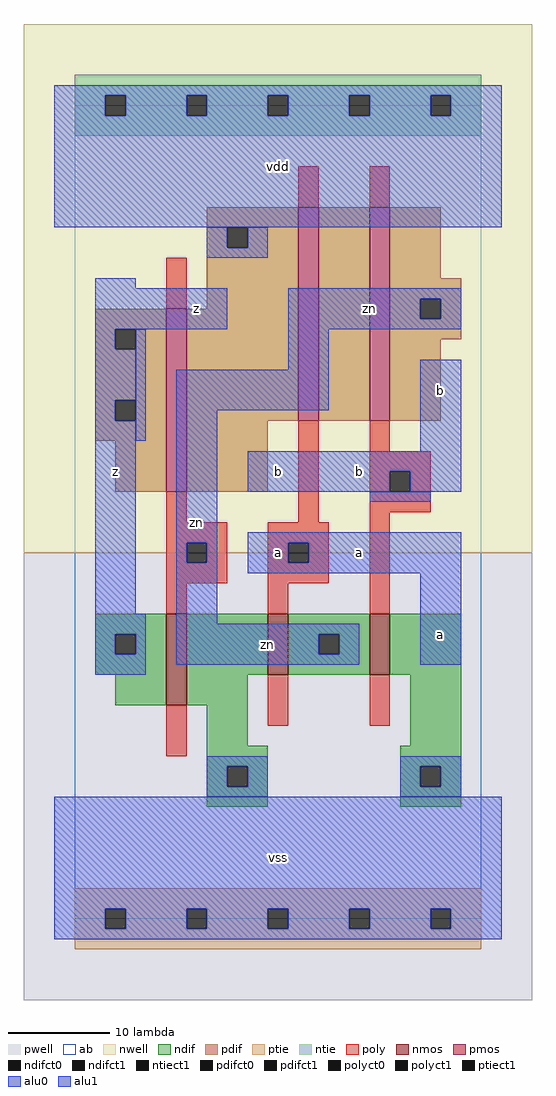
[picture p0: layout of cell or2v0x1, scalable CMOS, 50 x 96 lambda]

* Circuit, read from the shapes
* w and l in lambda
.subckt or2v0x1 a b vdd vss z zn
M1 vss zn z vss nfet w=9 l=2
M2 zn a vss vss nfet w=6 l=2
M3 vss b zn vss nfet w=6 l=2
M4 vdd zn z vdd pfet w=18 l=2
M5 n1 a vdd vdd pfet w=21 l=2
M6 zn b n1 vdd pfet w=21 l=2
.ends

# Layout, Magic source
magic
tech scmos
<< ab >>
rect 0 0 40 80
<< nwell >>
rect -5 36 45 88
<< pwell >>
rect -5 -8 45 36
<< poly >>
rect 22 70 24 74
rect 29 70 31 74
rect 9 60 11 65
rect 9 39 11 42
rect 22 39 24 49
rect 29 46 31 49
rect 29 44 35 46
rect 29 42 31 44
rect 33 42 35 44
rect 29 40 35 42
rect 9 37 15 39
rect 9 35 11 37
rect 13 35 15 37
rect 9 33 15 35
rect 19 37 25 39
rect 19 35 21 37
rect 23 35 25 37
rect 19 33 25 35
rect 9 30 11 33
rect 19 30 21 33
rect 29 30 31 40
rect 9 16 11 21
rect 19 19 21 24
rect 29 19 31 24
<< ndif >>
rect 2 28 9 30
rect 2 26 4 28
rect 6 26 9 28
rect 2 24 9 26
rect 4 21 9 24
rect 11 24 19 30
rect 21 28 29 30
rect 21 26 24 28
rect 26 26 29 28
rect 21 24 29 26
rect 31 24 38 30
rect 11 21 17 24
rect 13 17 17 21
rect 33 17 38 24
rect 13 15 19 17
rect 13 13 15 15
rect 17 13 19 15
rect 13 11 19 13
rect 32 15 38 17
rect 32 13 34 15
rect 36 13 38 15
rect 32 11 38 13
<< pdif >>
rect 13 68 22 70
rect 13 66 15 68
rect 17 66 22 68
rect 13 60 22 66
rect 2 58 9 60
rect 2 56 4 58
rect 6 56 9 58
rect 2 51 9 56
rect 2 49 4 51
rect 6 49 9 51
rect 2 47 9 49
rect 4 42 9 47
rect 11 49 22 60
rect 24 49 29 70
rect 31 63 36 70
rect 31 61 38 63
rect 31 59 34 61
rect 36 59 38 61
rect 31 57 38 59
rect 31 49 36 57
rect 11 42 19 49
<< alu1 >>
rect -2 81 42 82
rect -2 79 3 81
rect 5 79 11 81
rect 13 79 19 81
rect 21 79 27 81
rect 29 79 35 81
rect 37 79 42 81
rect -2 68 42 79
rect 2 62 6 63
rect 2 58 15 62
rect 2 56 4 58
rect 2 51 6 56
rect 2 49 4 51
rect 2 30 6 49
rect 34 46 38 55
rect 17 44 38 46
rect 17 42 31 44
rect 33 42 38 44
rect 2 28 7 30
rect 2 26 4 28
rect 6 26 7 28
rect 2 24 7 26
rect 17 37 38 38
rect 17 35 21 37
rect 23 35 38 37
rect 17 34 38 35
rect 34 25 38 34
rect -2 1 42 12
rect -2 -1 3 1
rect 5 -1 11 1
rect 13 -1 19 1
rect 21 -1 27 1
rect 29 -1 35 1
rect 37 -1 42 1
rect -2 -2 42 -1
<< ptie >>
rect 0 1 40 3
rect 0 -1 3 1
rect 5 -1 11 1
rect 13 -1 19 1
rect 21 -1 27 1
rect 29 -1 35 1
rect 37 -1 40 1
rect 0 -3 40 -1
<< ntie >>
rect 0 81 40 83
rect 0 79 3 81
rect 5 79 11 81
rect 13 79 19 81
rect 21 79 27 81
rect 29 79 35 81
rect 37 79 40 81
rect 0 77 40 79
<< nmos >>
rect 9 21 11 30
rect 19 24 21 30
rect 29 24 31 30
<< pmos >>
rect 9 42 11 60
rect 22 49 24 70
rect 29 49 31 70
<< polyct0 >>
rect 11 35 13 37
<< polyct1 >>
rect 31 42 33 44
rect 21 35 23 37
<< ndifct0 >>
rect 24 26 26 28
rect 15 13 17 15
rect 34 13 36 15
<< ndifct1 >>
rect 4 26 6 28
<< ntiect1 >>
rect 3 79 5 81
rect 11 79 13 81
rect 19 79 21 81
rect 27 79 29 81
rect 35 79 37 81
<< ptiect1 >>
rect 3 -1 5 1
rect 11 -1 13 1
rect 19 -1 21 1
rect 27 -1 29 1
rect 35 -1 37 1
<< pdifct0 >>
rect 15 66 17 68
rect 34 59 36 61
<< pdifct1 >>
rect 4 56 6 58
rect 4 49 6 51
<< alu0 >>
rect 13 66 15 68
rect 17 66 19 68
rect 13 65 19 66
rect 21 61 38 62
rect 21 59 34 61
rect 36 59 38 61
rect 21 58 38 59
rect 6 47 7 58
rect 21 54 25 58
rect 10 50 25 54
rect 10 37 14 50
rect 29 41 35 42
rect 10 35 11 37
rect 13 35 14 37
rect 10 29 14 35
rect 10 28 28 29
rect 10 26 24 28
rect 26 26 28 28
rect 10 25 28 26
rect 13 15 19 16
rect 13 13 15 15
rect 17 13 19 15
rect 13 12 19 13
rect 32 15 38 16
rect 32 13 34 15
rect 36 13 38 15
rect 32 12 38 13
<< labels >>
rlabel alu0 12 39 12 39 6 zn
rlabel alu0 19 27 19 27 6 zn
rlabel alu0 29 60 29 60 6 zn
rlabel alu1 4 44 4 44 6 z
rlabel alu1 12 60 12 60 6 z
rlabel alu1 20 6 20 6 6 vss
rlabel alu1 20 36 20 36 6 a
rlabel alu1 28 36 28 36 6 a
rlabel alu1 28 44 28 44 6 b
rlabel alu1 20 44 20 44 6 b
rlabel alu1 20 74 20 74 6 vdd
rlabel alu1 36 28 36 28 6 a
rlabel alu1 36 52 36 52 6 b
<< end >>
